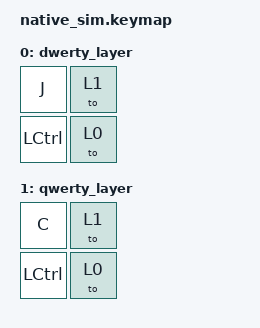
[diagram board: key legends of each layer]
#include <dt-bindings/zmk/keys.h>
#include <behaviors.dtsi>
#include <dt-bindings/zmk/kscan_mock.h>

/* Proof: the Fn+Z layout selector (&to) switches the base layer, so the same
 * physical key types Dvorak on the DWERTY half and Qwerty on the QWERTY half.
 * (The fork's &to 0xFF half-toggle is fork-only; here we use plain &to to prove
 * the selector mechanism + layer ordering on upstream native_sim.) */
/ {
    keymap {
        compatible = "zmk,keymap";
        dwerty_layer {
            bindings = <
                &kp J     &to 1
                &kp LCTRL &to 0
            >;
        };
        qwerty_layer {
            bindings = <
                &kp C     &to 1
                &kp LCTRL &to 0
            >;
        };
    };
};

&kscan {
    events = <
        /* DWERTY base: tap -> Dvorak J (0x0D) */
        ZMK_MOCK_PRESS(0,0,10)
        ZMK_MOCK_RELEASE(0,0,10)
        /* Fn+Z selector (&to 1) -> QWERTY base */
        ZMK_MOCK_PRESS(0,1,10)
        ZMK_MOCK_RELEASE(0,1,10)
        /* same key now types Qwerty C (0x06) */
        ZMK_MOCK_PRESS(0,0,10)
        ZMK_MOCK_RELEASE(0,0,10)
    >;
};
